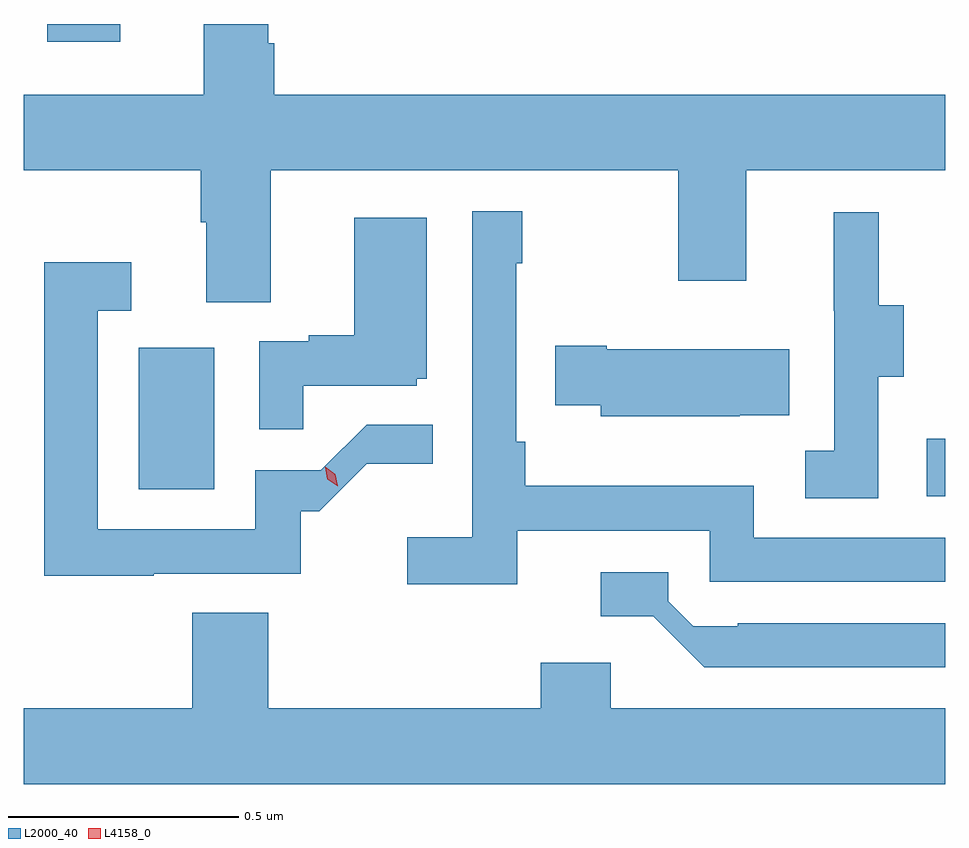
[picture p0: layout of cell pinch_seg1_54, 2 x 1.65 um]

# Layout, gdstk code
import gdstk
lib = gdstk.Library(unit=1e-6, precision=1e-09)
def R(c, l, rs):  # rectangles x0, y0, x1, y1
    for r in rs: c.add(gdstk.rectangle(r[:2], r[2:], *l))
def P(c, l, *ps):  # polygons
    for p in ps: c.add(gdstk.Polygon(p, *l))
L2000_40 = (2000, 40)
L4158_0 = (4158, 0)

pinch_seg1_54 = lib.new_cell('pinch_seg1_54')
R(pinch_seg1_54, L2000_40, [(1059.915,568.341,1059.955,568.466), (1058.204,568.356,1058.368,568.663), (1058.006,569.328,1058.164,569.366)])
P(pinch_seg1_54, L2000_40, [(1058.491,569.048),(1059.376,569.048),(1059.376,568.809),(1059.523,568.809),(1059.523,569.048),(1059.955,569.048),(1059.955,569.212),(1058.498,569.212),(1058.498,569.324),(1058.485,569.324),(1058.485,569.366),(1058.345,569.366),(1058.345,569.212),(1057.955,569.212),(1057.955,569.048),(1058.339,569.048),(1058.339,568.936),(1058.351,568.936),(1058.351,568.762),(1058.491,568.762)],
  [(1059.026,568.266),(1059.444,568.266),(1059.444,568.155),(1059.955,568.155),(1059.955,568.251),(1059.54,568.251),(1059.54,568.363),(1059.044,568.363),(1059.044,568.459),(1059.024,568.459),(1059.024,568.847),(1059.037,568.847),(1059.037,568.96),(1058.928,568.96),(1058.928,568.252),(1058.787,568.252),(1058.787,568.15),(1059.026,568.15)],
  [(1059.81,568.6),(1059.865,568.6),(1059.865,568.755),(1059.811,568.755),(1059.811,568.957),(1059.713,568.957),(1059.713,568.743),(1059.714,568.743),(1059.714,568.439),(1059.651,568.439),(1059.651,568.336),(1059.81,568.336)],
  [(1058.562,568.581),(1058.808,568.581),(1058.808,568.596),(1058.83,568.596),(1058.83,568.945),(1058.672,568.945),(1058.672,568.69),(1058.573,568.69),(1058.573,568.677),(1058.466,568.677),(1058.466,568.486),(1058.562,568.486)],
  [(1058.237,568.173),(1058.556,568.173),(1058.556,568.308),(1058.596,568.308),(1058.699,568.411),(1058.843,568.411),(1058.843,568.496),(1058.699,568.496),(1058.6,568.397),(1058.457,568.397),(1058.457,568.269),(1058.115,568.269),(1058.115,568.743),(1058.188,568.743),(1058.188,568.849),(1057.999,568.849),(1057.999,568.168),(1058.237,568.168)],
  [(1059.509,568.517),(1059.617,568.517),(1059.617,568.66),(1059.22,568.66),(1059.22,568.668),(1059.109,568.668),(1059.109,568.538),(1059.207,568.538),(1059.207,568.514),(1059.509,568.514)],
  [(1059.955,568.065),(1059.505,568.065),(1059.505,568.059),(1059.408,568.059),(1059.354,568.113),(1059.354,568.176),(1059.207,568.176),(1059.207,568.08),(1059.321,568.08),(1059.432,567.969),(1059.955,567.969)],
  [(1059.955,567.88),(1059.229,567.88),(1059.229,567.979),(1059.077,567.979),(1059.077,567.88),(1058.486,567.88),(1058.486,568.088),(1058.321,568.088),(1058.321,567.88),(1057.955,567.88),(1057.955,567.716),(1059.955,567.716)])
P(pinch_seg1_54, L4158_0, [(1058.636,568.362),(1058.636,568.362),(1058.614,568.378),(1058.609,568.405),(1058.609,568.405),(1058.609,568.405),(1058.631,568.389),(1058.636,568.363)])

lib.write_gds('pinch_seg1_54.gds')
